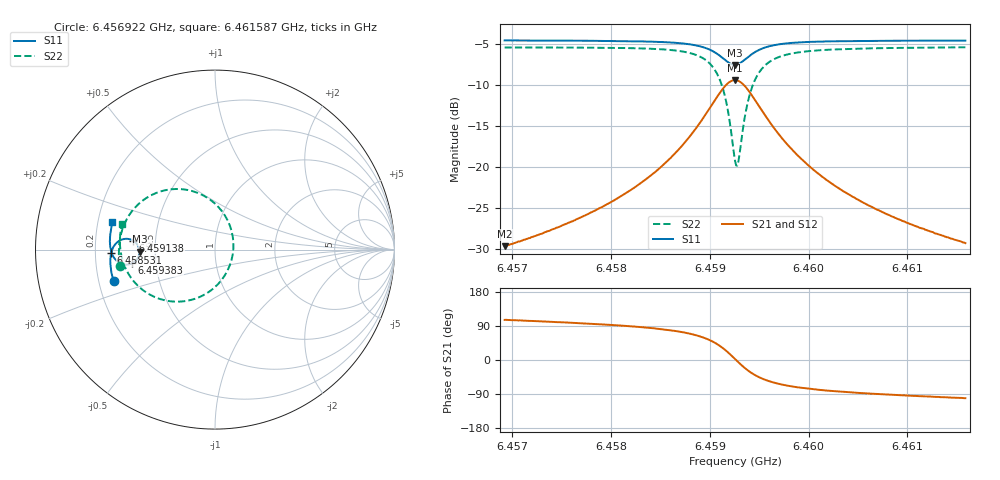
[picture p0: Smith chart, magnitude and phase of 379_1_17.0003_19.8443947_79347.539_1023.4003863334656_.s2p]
#  HZ  S  RI  R  50.00
! Rohde & Schwarz Vector Network Analyzer
! Rohde-Schwarz,ZNB20-2Port,1311601062101988,3.16
! Created: UTC 3/20/2024, 11:09:03 PM
! freq[Hz]  re:S11  im:S11  re:S21  im:S21  re:S12  im:S12  re:S22  im:S22
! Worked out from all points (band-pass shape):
!   401 points, 6.456922 GHz to 6.461587 GHz, reference 50 ohm
!   highest |S21| = -9.38 dB at 6.459254 GHz (marker M1); lowest = -29.6 dB at 6.456922 GHz (marker M2)
!   |S21| within 3 dB of the highest: 6.459021 GHz to 6.459488 GHz (466.7 kHz wide, 0.00722 % of centre)
!   lowest |S11| = -7.5 dB at 6.459254 GHz (marker M3), VSWR 2.45, Z = 20.4 - j0.569 ohm
!   |S11| at or under -10 dB: nowhere
!   |S22| runs from -19.8 to -5.4 dB; largest |S21 - S12| = 0.013
!   S11 on the Smith chart (normalised r, x): 6.456922 GHz: 0.26, -0.14; 6.458531 GHz: 0.27, -0.01; 6.459138 GHz: 0.37, +0.05; 6.459383 GHz: 0.36, -0.07; 6.461587 GHz: 0.26, +0.12
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6.456922e9  -0.5652 -0.1765  -0.00906 0.0318  -0.00741 0.0318  -0.5292 -0.0894
6.4577033e9  -0.5799 -0.1086  -0.00591 0.0495  -0.00349 0.049  -0.5356 0.000751
6.4581465e9  -0.5834 -0.0643  2.87e-05 0.0695  0.00334 0.068  -0.5277 0.0701
6.4584847e9  -0.5798 -0.0242  0.0133 0.0972  0.0172 0.0946  -0.504 0.1453
6.4585313e9  -0.5784 -0.0178  0.0167 0.1026  0.0206 0.0996  -0.4978 0.1584
6.4587412e9  -0.5665 0.0139  0.0422 0.1339  0.0464 0.1293  -0.4501 0.2295
6.4588928e9  -0.5456 0.0402  0.084 0.1639  0.0874 0.1574  -0.3729 0.2934
6.4590445e9  -0.5001 0.0599  0.1744 0.1831  0.1755 0.1756  -0.2081 0.3377
6.4591378e9  -0.4563 0.0502  0.263 0.1529  0.2632 0.1469  -0.0442 0.2895
6.4591844e9  -0.4354 0.0317  0.3062 0.1109  0.3075 0.1056  0.0377 0.2151
6.4592544e9  -0.4206 -0.0115  0.3393 0.0158  0.3428 0.00892  0.1025 0.0393
6.4592777e9  -0.4222 -0.0272  0.3375 -0.019  0.3412 -0.0271  0.0989 -0.0263
6.4592894e9  -0.4245 -0.0347  0.3341 -0.0357  0.3377 -0.0447  0.092 -0.0582
6.459336e9  -0.4396 -0.0604  0.3062 -0.095  0.3083 -0.1064  0.0365 -0.1695
6.4593827e9  -0.4614 -0.0763  0.265 -0.1355  0.2644 -0.1484  -0.0464 -0.2437
6.4594759e9  -0.504 -0.0831  0.182 -0.1667  0.1761 -0.1779  -0.2117 -0.2902
6.4596276e9  -0.5472 -0.0627  0.0955 -0.1535  0.0872 -0.1596  -0.3768 -0.2428
6.4597908e9  -0.5686 -0.0351  0.0511 -0.1263  0.0438 -0.1291  -0.4563 -0.1724
6.4600357e9  -0.5811 0.000394  0.0224 -0.0956  0.0166 -0.0961  -0.5039 -0.0911
6.4603973e9  -0.5856 0.0428  0.00612 -0.0686  0.00219 -0.0681  -0.5257 -0.0106
6.4608171e9  -0.5836 0.0847  -0.00133 -0.0511  -0.0041 -0.0501  -0.5298 0.055
6.4615868e9  -0.5712 0.1526  -0.00641 -0.0339  -0.00811 -0.033  -0.5184 0.1448
